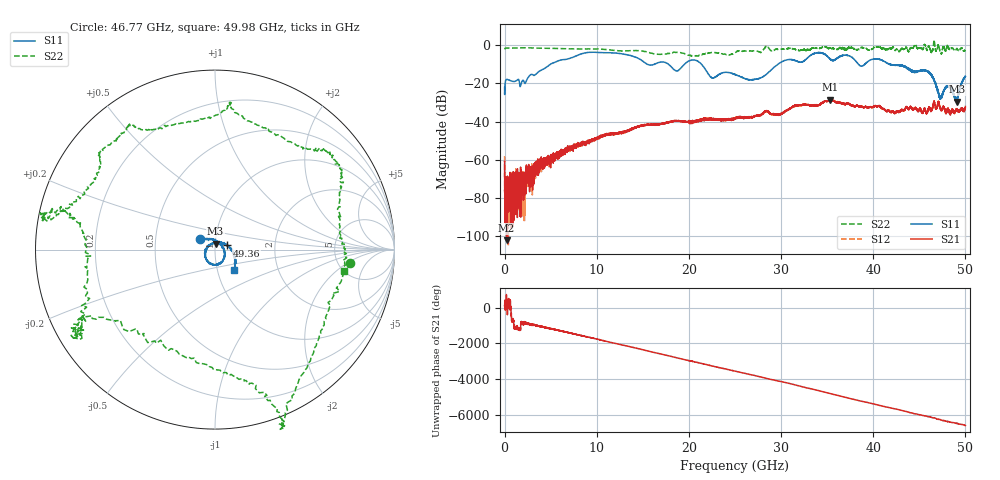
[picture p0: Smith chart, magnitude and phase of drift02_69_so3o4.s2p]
!Created with skrf (http://scikit-rf.org).
# Hz S RI R 50.0
!freq ReS11 ImS11 ReS21 ImS21 ReS12 ImS12 ReS22 ImS22
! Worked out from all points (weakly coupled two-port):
!   10001 points, 300 kHz to 50 GHz, reference 50 ohm
!   highest |S21| = -28.54 dB at 35.32 GHz (marker M1); lowest = -102.2 dB at 220.3 MHz (marker M2)
!   lowest |S11| = -29.5 dB at 49.08 GHz (marker M3), VSWR 1.07, Z = 50.2 + j3.34 ohm
!   |S11| at or under -10 dB: start of sweep to 4.952 GHz; 21.38 GHz to 29.64 GHz (8.257 GHz wide, 32.4 % of centre); 41.87 GHz to end of sweep (the widest 3 of 11)
!   |S22| runs from -5.7 to 2.5 dB; largest |S21 - S12| = 0.0033
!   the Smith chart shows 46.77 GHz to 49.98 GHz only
!   S11 on the Smith chart (normalised r, x): 46.77 GHz: 0.84, +0.10; 49.36 GHz: 1.14, +0.05; 49.98 GHz: 1.20, -0.27
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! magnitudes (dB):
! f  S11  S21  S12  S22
! 300 kHz  -22.1  -60.9  -58.2  -2.1
! 220.3 MHz  -17.9  -102.2  -82.7  -1.4
! 1.875 GHz  -19.0  -72.0  -68.6  -1.3
! 3.71 GHz  -13.8  -63.7  -63.5  -1.5
! 8.335 GHz  -4.5  -52.1  -52.0  -1.9
! 16.67 GHz  -9.1  -41.5  -41.3  -4.7
! 18.7 GHz  -13.5  -39.7  -39.6  -3.7
! 20.6 GHz  -7.7  -39.9  -40.3  -5.7
! 22.51 GHz  -17.1  -38.7  -38.9  -3.7
! 25 GHz  -15.3  -38.4  -38.4  -3.9
! 27.5 GHz  -17.6  -36.7  -36.4  -3.2
! 33.34 GHz  -4.9  -31.4  -31.3  -1.5
! 35.32 GHz  -7.2  -28.5  -28.8  -1.4
! 41.67 GHz  -9.7  -33.8  -34.2  -1.8
! 45.78 GHz  -13.3  -35.9  -35.7  -1.9
! 46.77 GHz  -20.0  -33.1  -32.8  -2.5
! 47.28 GHz  -27.4  -33.3  -33.1  -3.3
! 48.11 GHz  -21.5  -33.3  -33.3  -0.4
! 49.08 GHz  -29.5  -33.1  -33.8  -1.8
! 49.36 GHz  -23.2  -34.5  -34.4  -2.7
! 49.98 GHz  -16.4  -32.7  -33.1  -2.8
! 50 GHz  -16.3  -32.1  -32.9  -2.8
